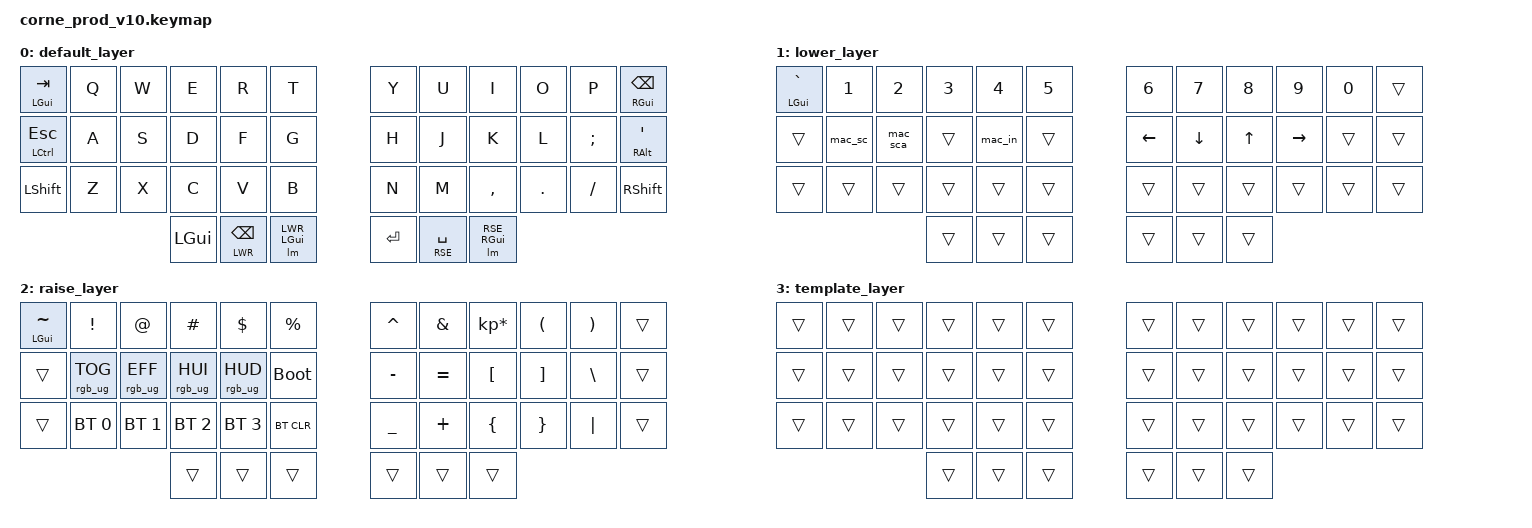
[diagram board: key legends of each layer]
/*
 * Copyright (c) 2020 The ZMK Contributors
 *
 * SPDX-License-Identifier: MIT
 *
 * Reference: https://zmk.dev/docs/keymaps/behaviors/key-press
 *
 */

#include <behaviors.dtsi>
#include <dt-bindings/zmk/keys.h>
#include <dt-bindings/zmk/bt.h>
#include <dt-bindings/zmk/rgb.h>

&led_strip {
    chain-length = <27>;
};

// Define the custom macro
// reference: https://zmk.dev/docs/keymaps/behaviors/macros
/ {
    macros {
        // switch input method
        macos_input: macos_input {
            compatible = "zmk,behavior-macro";
            #binding-cells = <0>;
            bindings
                = <&macro_press &kp LCTRL>
                , <&macro_press &kp LALT>
                , <&macro_tap &kp SPACE>
                , <&macro_release &kp LALT>
                , <&macro_release &kp LCTRL>
                ;
        };
        // alt_backspace ALT_BS
        alt_backspace: alt_backspace {
            compatible = "zmk,behavior-macro";
            #binding-cells = <0>;
            bindings
                = <&macro_press &kp LALT>
                , <&macro_tap &kp BSPC>
                , <&macro_release &kp LALT>
                ;
        };
        // MAC_SC
        macos_screenshot: macos_screenshot {
            compatible = "zmk,behavior-macro";
            #binding-cells = <0>;
            bindings
                = <&macro_press &kp LGUI>
                , <&macro_press &kp LCTRL>
                , <&macro_press &kp LSHFT>
                , <&macro_tap &kp N4>
                , <&macro_release &kp LSHFT>
                , <&macro_release &kp LCTRL>
                , <&macro_release &kp LGUI>
                ;
        };
        // MAC_SA
        macos_screenshot_with_annotation: macos_screenshot_with_annotation {
            compatible = "zmk,behavior-macro";
            #binding-cells = <0>;
            bindings
                = <&macro_press &kp LGUI>
                , <&macro_press &kp LSHFT>
                , <&macro_tap &kp N4>
                , <&macro_release &kp LSHFT>
                , <&macro_release &kp LGUI>
                ;
        };
        ctrl_alt_left: ctrl_alt_left {
            compatible = "zmk,behavior-macro";
            #binding-cells = <0>;
            bindings
                = <&macro_press &kp LCTRL>
                , <&macro_press &kp LALT>
                , <&macro_tap &kp LEFT>
                , <&macro_release &kp LALT>
                , <&macro_release &kp LCTRL>
                ;
        };
        ctrl_alt_right: ctrl_alt_right {
            compatible = "zmk,behavior-macro";
            #binding-cells = <0>;
            bindings
                = <&macro_press &kp LCTRL>
                , <&macro_press &kp LALT>
                , <&macro_tap &kp RIGHT>
                , <&macro_release &kp LALT>
                , <&macro_release &kp LCTRL>
                ;
        };
        ctrl_alt_up: ctrl_alt_up {
            compatible = "zmk,behavior-macro";
            #binding-cells = <0>;
            bindings
                = <&macro_press &kp LCTRL>
                , <&macro_press &kp LALT>
                , <&macro_tap &kp UP>
                , <&macro_release &kp LALT>
                , <&macro_release &kp LCTRL>
                ;
        };
        ctrl_alt_down: ctrl_alt_down {
            compatible = "zmk,behavior-macro";
            #binding-cells = <0>;
            bindings
                = <&macro_press &kp LCTRL>
                , <&macro_press &kp LALT>
                , <&macro_tap &kp DOWN>
                , <&macro_release &kp LALT>
                , <&macro_release &kp LCTRL>
                ;
        };
        ctrl_alt_enter: ctrl_alt_enter {
            compatible = "zmk,behavior-macro";
            #binding-cells = <0>;
            bindings
                = <&macro_press &kp LCTRL>
                , <&macro_press &kp LALT>
                , <&macro_tap &kp RET>
                , <&macro_release &kp LALT>
                , <&macro_release &kp LCTRL>
                ;
        };
        // cmd_grave
        cmd_grave: cmd_grave {
            compatible = "zmk,behavior-macro";
            #binding-cells = <0>;
            bindings
                = <&macro_press &kp LGUI>
                , <&macro_tap &kp GRAVE>
                , <&macro_release &kp LGUI>
                ;
        };
        // cmd_1
        cmd_1: cmd_1 {
            compatible = "zmk,behavior-macro";
            #binding-cells = <0>;
            bindings
                = <&macro_press &kp LGUI>
                , <&macro_tap &kp N1>
                , <&macro_release &kp LGUI>
                ;
        };
        // cmd_2
        cmd_2: cmd_2 {
            compatible = "zmk,behavior-macro";
            #binding-cells = <0>;
            bindings
                = <&macro_press &kp LGUI>
                , <&macro_tap &kp N2>
                , <&macro_release &kp LGUI>
                ;
        };
        // cmd_3
        cmd_3: cmd_3 {
            compatible = "zmk,behavior-macro";
            #binding-cells = <0>;
            bindings
                = <&macro_press &kp LGUI>
                , <&macro_tap &kp N3>
                , <&macro_release &kp LGUI>
                ;
        };
        // cmd_4
        cmd_4: cmd_4 {
            compatible = "zmk,behavior-macro";
            #binding-cells = <0>;
            bindings
                = <&macro_press &kp LGUI>
                , <&macro_tap &kp N4>
                , <&macro_release &kp LGUI>
                ;
        };
        // cmd_5
        cmd_5: cmd_5 {
            compatible = "zmk,behavior-macro";
            #binding-cells = <0>;
            bindings
                = <&macro_press &kp LGUI>
                , <&macro_tap &kp N5>
                , <&macro_release &kp LGUI>
                ;
        };
        /**
        * Temporarily switches to a layer (`&mo`) while a modifier is held.
        * Analogous to QMK's `LM()`, using a parameterized macro.
        *
        * Params:
        *  1. Layer to switch to
        *  2. Modifier to press while layer is active
        *
        * Example:
        *  `&lm NUM_LAYER LSHIFT`
        */
        lm: lm {
            compatible = "zmk,behavior-macro-two-param";
            wait-ms = <0>;
            tap-ms = <0>;
            #binding-cells = <2>;
            bindings
                = <&macro_param_1to1>
                , <&macro_press &mo MACRO_PLACEHOLDER>
                , <&macro_param_2to1>
                , <&macro_press &kp MACRO_PLACEHOLDER>
                , <&macro_pause_for_release>
                , <&macro_param_2to1>
                , <&macro_release &kp MACRO_PLACEHOLDER>
                , <&macro_param_1to1>
                , <&macro_release &mo MACRO_PLACEHOLDER>
                ;
        };
    };
};

#define DEFAULT 0
#define DFT 0
#define LWR 1
#define RSE 2

#define mac_sc macos_screenshot
#define mac_sca macos_screenshot_with_annotation
#define mac_in macos_input

/ {
        keymap {
                compatible = "zmk,keymap";

                default_layer {
// -----------------------------------------------------------------------------------------
// | TAB / LGUI  |  Q  |  W  |  E   |  R         |  T     | | Y   |  U        |  I     |  O  |  P  | BSPC / RGUI |
// | ESC / LCTRL |  A  |  S  |  D   |  F         |  G     | | H   |  J        |  K     |  L  |  ;  | ' / RALT    |
// | LSHFT       |  Z  |  X  |  C   |  V         |  B     | | N   |  M        |  ,     |  .  |  /  | RSHFT       |
//                           | LGUI | BSPC / LWR | LWR + LGUI | | ENT | SPC / RSE | RSE + RGUI |
                        bindings = <
   &mt LGUI TAB  &kp Q &kp W    &kp E        &kp R   &kp T   &kp Y         &kp U    &kp I     &kp O   &kp P    &mt RGUI BSPC
   &mt LCTRL ESC &kp A &kp S    &kp D        &kp F   &kp G   &kp H         &kp J    &kp K     &kp L   &kp SEMI &mt RALT SQT
   &kp LSHFT     &kp Z &kp X    &kp C        &kp V   &kp B   &kp N         &kp M    &kp COMMA &kp DOT &kp FSLH &kp RSHFT
                       &kp LGUI &lt LWR BSPC &lm LWR LGUI &kp RET &lt RSE SPACE &lm RSE RGUI
                        >;
                };
                lower_layer {
// -----------------------------------------------------------------------------------------
// | ` / LGUI | 1     | 2      |  3    |  4     | 5          | |  6  |  7  | 8  |  9  |  0  |  |
// |          |mac_sc |mac_sca |       | mac_in |            | | LFT | DWN | UP | RGT |     |  |
// |          |       |        |       |        |            | |     |     |    |     |     |  |
//                             |       |        | ENT / LGUI | |     |     |    |
                        bindings = <
   &mt LGUI GRAVE &kp N1  &kp N2   &kp N3    &kp N4   &kp N5  &kp N6   &kp N7   &kp N8 &kp N9    &kp N0 &trans
   &trans    &mac_sc &mac_sca &trans    &mac_in  &trans       &kp LEFT &kp DOWN &kp UP &kp RIGHT &trans &trans
   &trans    &trans  &trans   &trans    &trans   &trans       &trans   &trans   &trans &trans    &trans &trans
                              &trans    &trans   &trans       &trans   &trans   &trans
                        >;
                };
                raise_layer {
// -----------------------------------------------------------------------------------------
// | ~ / LGUI |   !   |   @      |   #     |   $   |   %   |   |  ^  |  &  |  *  |  (  |  )  | |
// |          |RGB_TOG| RGB_EFF  | RGB_HUI |RGB_HUD|QK_BOOT|   |  -  |  =  |  [  |  ]  |  \  | |
// |          | BT0   | BT1      |BT2      | BT3   | BTCLR |   |  _  |  +  |  {  |  }  | "|" | |
//                               |         |       |       |   |     |     |     |
                        bindings = <
   &mt LGUI TILDE &kp EXCL        &kp AT          &kp HASH        &kp DLLR        &kp PRCNT    &kp CARET &kp AMPS  &kp KP_MULTIPLY &kp LPAR &kp RPAR &trans
   &trans         &rgb_ug RGB_TOG &rgb_ug RGB_EFF &rgb_ug RGB_HUI &rgb_ug RGB_HUD &bootloader  &kp MINUS &kp EQUAL &kp LBKT        &kp RBKT &kp BSLH &trans
   &trans         &bt BT_SEL 0    &bt BT_SEL 1    &bt BT_SEL 2    &bt BT_SEL 3    &bt BT_CLR   &kp UNDER &kp PLUS  &kp LBRC        &kp RBRC &kp PIPE &trans
                                                  &trans          &trans          &trans       &trans    &trans   &trans
                        >;
                };
                template_layer {
// -----------------------------------------------------------------------------------------
// | | | | | | | | | | | | | |
// | | | | | | | | | | | | | |
// | | | | | | | | | | | | | |
//       | | | | | | | |
                        bindings = <
   &trans &trans &trans &trans &trans &trans &trans &trans &trans &trans &trans &trans
   &trans &trans &trans &trans &trans &trans &trans &trans &trans &trans &trans &trans
   &trans &trans &trans &trans &trans &trans &trans &trans &trans &trans &trans &trans
                        &trans &trans &trans &trans &trans &trans
                        >;
                };
        };
};
